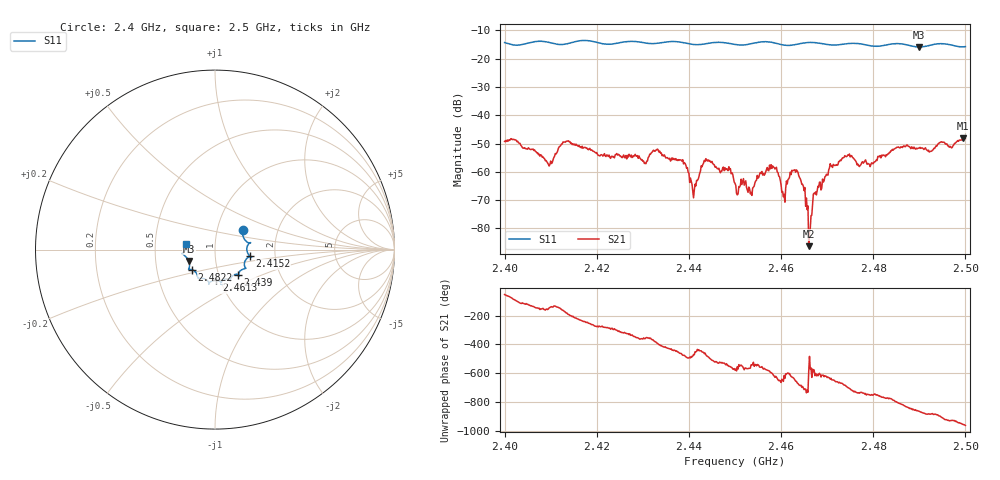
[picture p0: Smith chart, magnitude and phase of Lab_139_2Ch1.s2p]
# Hz S RI R 50
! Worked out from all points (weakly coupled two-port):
!   601 points, 2.4 GHz to 2.5 GHz, reference 50 ohm
!   highest |S21| = -48.21 dB at 2.4995 GHz (marker M1); lowest = -86.3 dB at 2.466 GHz (marker M2)
!   lowest |S11| = -15.9 dB at 2.49 GHz (marker M3), VSWR 1.38, Z = 36.9 - j4.86 ohm
!   |S11| at or under -10 dB: start of sweep to end of sweep
!   S12 and S22 are empty: the file has one direction only
!   S11 on the Smith chart (normalised r, x): 2.4 GHz: 1.33, +0.31; 2.4152 GHz: 1.48, -0.11; 2.439 GHz: 1.24, -0.36; 2.4613 GHz: 0.96, -0.34; 2.4822 GHz: 0.76, -0.17; 2.5 GHz: 0.72, +0.05
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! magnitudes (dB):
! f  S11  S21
! 2.4 GHz  -14.4  -49.3
! 2.4098 GHz  -14.4  -57.4
! 2.4152 GHz  -14.1  -50.2
! 2.4167 GHz  -13.6  -51.6
! 2.4333 GHz  -14.5  -52.3
! 2.439 GHz  -14.4  -56.7
! 2.441 GHz  -15.0  -69.2
! 2.4438 GHz  -14.7  -55.7
! 2.45 GHz  -15.0  -64.1
! 2.4533 GHz  -14.8  -67.8
! 2.458 GHz  -14.2  -58.8
! 2.4605 GHz  -15.2  -68.8
! 2.4613 GHz  -15.3  -64.3
! 2.4635 GHz  -14.9  -59.7
! 2.466 GHz  -14.3  -86.3
! 2.4667 GHz  -14.3  -75.3
! 2.471 GHz  -15.2  -57.8
! 2.4822 GHz  -15.4  -54.1
! 2.4833 GHz  -15.0  -53.7
! 2.49 GHz  -15.9  -51.6
! 2.4995 GHz  -15.8  -48.2
! 2.5 GHz  -15.8  -48.3
